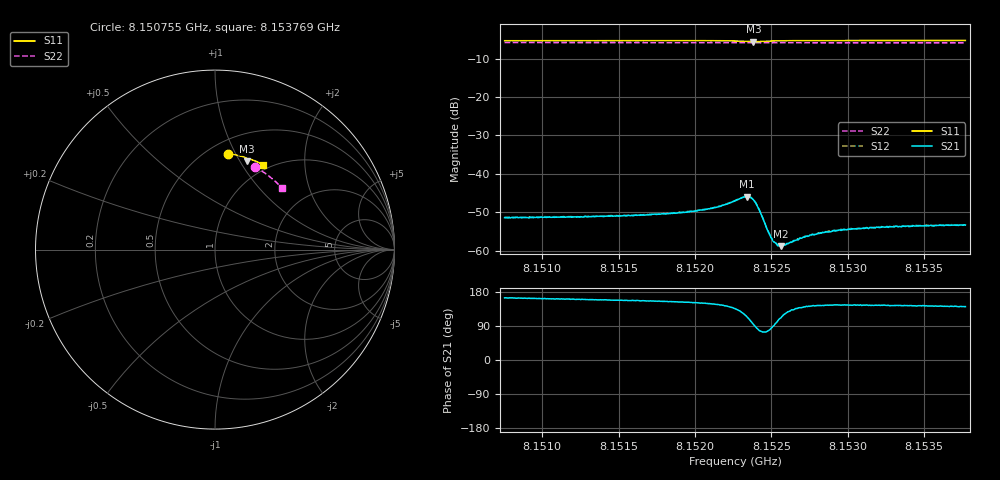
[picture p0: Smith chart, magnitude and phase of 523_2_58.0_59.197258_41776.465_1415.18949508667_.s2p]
#  HZ  S  RI  R  50.00
! Rohde & Schwarz Vector Network Analyzer
! Rohde-Schwarz,ZNB20-2Port,1311601062101988,3.16
! Created: UTC 3/21/2024, 1:13:46 AM
! freq[Hz]  re:S11  im:S11  re:S21  im:S21  re:S12  im:S12  re:S22  im:S22
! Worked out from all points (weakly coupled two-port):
!   401 points, 8.150755 GHz to 8.153769 GHz, reference 50 ohm
!   highest |S21| = -45.96 dB at 8.152337 GHz (marker M1); lowest = -58.9 dB at 8.152564 GHz (marker M2)
!   lowest |S11| = -5.6 dB at 8.152383 GHz (marker M3), VSWR 3.19, Z = 39.6 + j53.6 ohm
!   |S11| at or under -10 dB: nowhere
!   |S22| runs from -5.9 to -5.8 dB; largest |S21 - S12| = 0.00012
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8.1507546e9  0.0743 0.5339  -0.00258 0.000735  -0.00257 0.000794  0.2205 0.4602
8.1512596e9  0.1094 0.5287  -0.00259 0.000936  -0.00261 0.00101  0.249 0.4447
8.1517646e9  0.1445 0.5208  -0.00271 0.00123  -0.0027 0.00131  0.2763 0.4275
8.1519455e9  0.1575 0.517  -0.00281 0.00145  -0.00285 0.00149  0.2857 0.4208
8.1520887e9  0.1682 0.5132  -0.00299 0.00182  -0.00298 0.00183  0.2931 0.4154
8.1521565e9  0.1736 0.5106  -0.00311 0.00209  -0.00312 0.00215  0.2967 0.4126
8.1522621e9  0.1819 0.5039  -0.00316 0.0031  -0.00317 0.00317  0.3018 0.4085
8.1523374e9  0.1835 0.4946  -0.00214 0.00455  -0.00207 0.0046  0.3055 0.4054
8.15236e9  0.1811 0.4922  -0.0013 0.00475  -0.00125 0.00486  0.3065 0.4042
8.1523827e9  0.1778 0.4918  -0.000319 0.00458  -0.00027 0.00458  0.3074 0.4036
8.1524128e9  0.1746 0.4948  0.000559 0.0036  0.000649 0.00364  0.3088 0.4026
8.1524731e9  0.1773 0.5021  0.000465 0.00181  0.000493 0.00182  0.3119 0.4006
8.1525032e9  0.1806 0.5038  0.000113 0.00142  0.000119 0.00141  0.3134 0.3992
8.1525334e9  0.1837 0.5045  -0.000187 0.00121  -0.000166 0.00123  0.315 0.398
8.1525635e9  0.1869 0.5048  -0.000423 0.00106  -0.000457 0.00108  0.3165 0.3969
8.1526012e9  0.1904 0.5045  -0.00071 0.00101  -0.000696 0.00101  0.3185 0.3953
8.1526766e9  0.1968 0.5031  -0.00103 0.00094  -0.001 0.000946  0.322 0.3922
8.152767e9  0.204 0.5013  -0.00129 0.000978  -0.00128 0.00102  0.3265 0.3885
8.152865e9  0.2109 0.499  -0.00143 0.001  -0.00142 0.00103  0.3311 0.3842
8.1529705e9  0.2182 0.4961  -0.00153 0.00107  -0.00153 0.00112  0.3359 0.3799
8.153272e9  0.2382 0.4878  -0.00164 0.00122  -0.00166 0.00122  0.3499 0.3665
8.1537695e9  0.2692 0.4721  -0.00167 0.00136  -0.00167 0.0014  0.3714 0.3436
